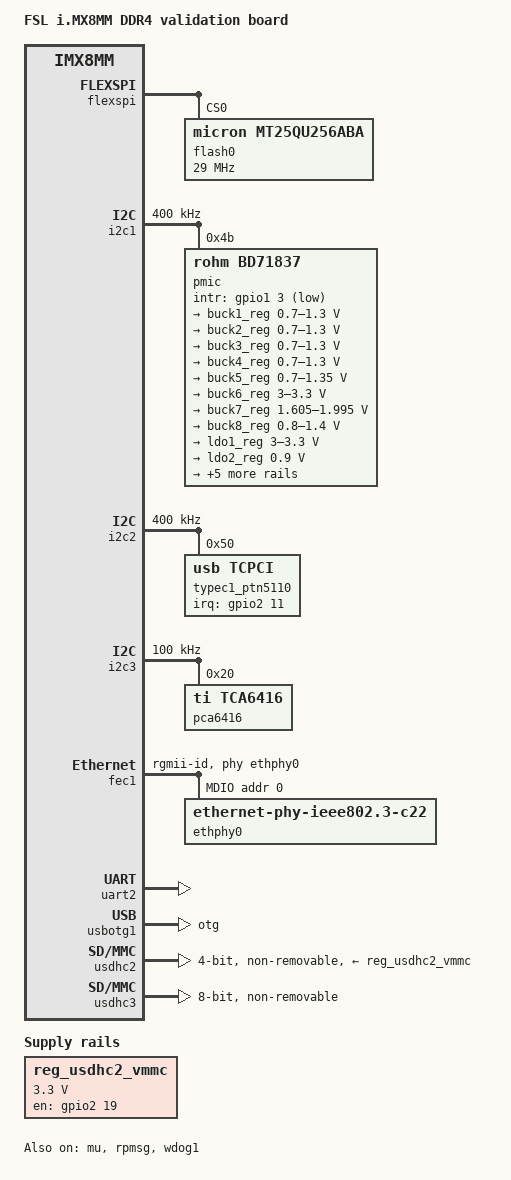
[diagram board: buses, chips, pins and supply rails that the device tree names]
/*
 * Copyright 2018 NXP
 *
 * This program is free software; you can redistribute it and/or
 * modify it under the terms of the GNU General Public License
 * as published by the Free Software Foundation; either version 2
 * of the License, or (at your option) any later version.
 *
 * This program is distributed in the hope that it will be useful,
 * but WITHOUT ANY WARRANTY; without even the implied warranty of
 * MERCHANTABILITY or FITNESS FOR A PARTICULAR PURPOSE.  See the
 * GNU General Public License for more details.
 */

/dts-v1/;

#include "fsl-imx8mm.dtsi"

/ {
	model = "FSL i.MX8MM DDR4 validation board";
	compatible = "fsl,imx8mm-val", "fsl,imx8mm";

	chosen {
		bootargs = "console=ttymxc1,115200 earlycon=ec_imx6q,0x30890000,115200";
		stdout-path = &uart2;
	};

	regulators {
		compatible = "simple-bus";
		#address-cells = <1>;
		#size-cells = <0>;

		reg_usdhc2_vmmc: regulator-usdhc2 {
			compatible = "regulator-fixed";
			regulator-name = "VSD_3V3";
			regulator-min-microvolt = <3300000>;
			regulator-max-microvolt = <3300000>;
			gpio = <&gpio2 19 GPIO_ACTIVE_HIGH>;
			enable-active-high;
		};
	};

	busfreq {
		status = "disabled";
	};
};

&iomuxc {
	pinctrl-names = "default";

	imx8mm-val {
		pinctrl_fec1: fec1grp {
			fsl,pins = <
				MX8MM_IOMUXC_ENET_MDC_ENET1_MDC		0x3
				MX8MM_IOMUXC_ENET_MDIO_ENET1_MDIO	0x3
				MX8MM_IOMUXC_ENET_TD3_ENET1_RGMII_TD3	0x1f
				MX8MM_IOMUXC_ENET_TD2_ENET1_RGMII_TD2	0x1f
				MX8MM_IOMUXC_ENET_TD1_ENET1_RGMII_TD1	0x1f
				MX8MM_IOMUXC_ENET_TD0_ENET1_RGMII_TD0	0x1f
				MX8MM_IOMUXC_ENET_RD3_ENET1_RGMII_RD3	0x91
				MX8MM_IOMUXC_ENET_RD2_ENET1_RGMII_RD2	0x91
				MX8MM_IOMUXC_ENET_RD1_ENET1_RGMII_RD1	0x91
				MX8MM_IOMUXC_ENET_RD0_ENET1_RGMII_RD0	0x91
				MX8MM_IOMUXC_ENET_TXC_ENET1_RGMII_TXC	0x1f
				MX8MM_IOMUXC_ENET_RXC_ENET1_RGMII_RXC	0x91
				MX8MM_IOMUXC_ENET_RX_CTL_ENET1_RGMII_RX_CTL	0x91
				MX8MM_IOMUXC_ENET_TX_CTL_ENET1_RGMII_TX_CTL	0x1f
				MX8MM_IOMUXC_SAI2_RXC_GPIO4_IO22	0x19
			>;
		};

		pinctrl_flexspi0: flexspi0grp {
			fsl,pins = <
				MX8MM_IOMUXC_NAND_ALE_QSPI_A_SCLK		0x1c2
				MX8MM_IOMUXC_NAND_CE0_B_QSPI_A_SS0_B		0x82
				MX8MM_IOMUXC_NAND_DATA00_QSPI_A_DATA0		0x82
				MX8MM_IOMUXC_NAND_DATA01_QSPI_A_DATA1		0x82
				MX8MM_IOMUXC_NAND_DATA02_QSPI_A_DATA2		0x82
				MX8MM_IOMUXC_NAND_DATA03_QSPI_A_DATA3		0x82
			>;
		};

		pinctrl_i2c1: i2c1grp {
			fsl,pins = <
				MX8MM_IOMUXC_I2C1_SCL_I2C1_SCL			0x400001c3
				MX8MM_IOMUXC_I2C1_SDA_I2C1_SDA			0x400001c3
			>;
		};

		pinctrl_i2c2: i2c2grp {
			fsl,pins = <
				MX8MM_IOMUXC_I2C2_SCL_I2C2_SCL			0x400001c3
				MX8MM_IOMUXC_I2C2_SDA_I2C2_SDA			0x400001c3
			>;
		};

		pinctrl_i2c3: i2c3grp {
			fsl,pins = <
				MX8MM_IOMUXC_I2C3_SCL_I2C3_SCL			0x400001c3
				MX8MM_IOMUXC_I2C3_SDA_I2C3_SDA			0x400001c3
			>;
		};

		pinctrl_pmic: pmicirq {
			fsl,pins = <
				MX8MM_IOMUXC_GPIO1_IO03_GPIO1_IO3		0x41
			>;
		};

		pinctrl_typec1: typec1grp {
			fsl,pins = <
				MX8MM_IOMUXC_SD1_STROBE_GPIO2_IO11	0x159
			>;
		};

		pinctrl_typec2: typec2grp {
			fsl,pins = <
				MX8MM_IOMUXC_SD2_CD_B_GPIO2_IO12	0x159
			>;
		};

		pinctrl_uart2: uart2grp {
			fsl,pins = <
				MX8MM_IOMUXC_UART2_RXD_UART2_DCE_RX	0x140
				MX8MM_IOMUXC_UART2_TXD_UART2_DCE_TX	0x140
			>;
		};

		pinctrl_usdhc2_gpio: usdhc2grpgpio {
			fsl,pins = <
				MX8MM_IOMUXC_SD2_RESET_B_GPIO2_IO19	0x41
			>;
		};

		pinctrl_usdhc2: usdhc2grp {
			fsl,pins = <
				MX8MM_IOMUXC_SD2_CLK_USDHC2_CLK		0x190
				MX8MM_IOMUXC_SD2_CMD_USDHC2_CMD		0x1d0
				MX8MM_IOMUXC_SD2_DATA0_USDHC2_DATA0	0x1d0
				MX8MM_IOMUXC_SD2_DATA1_USDHC2_DATA1	0x1d0
				MX8MM_IOMUXC_SD2_DATA2_USDHC2_DATA2	0x1d0
				MX8MM_IOMUXC_SD2_DATA3_USDHC2_DATA3	0x1d0
				MX8MM_IOMUXC_GPIO1_IO04_USDHC2_VSELECT	0x1d0
			>;
		};

		pinctrl_usdhc2_100mhz: usdhc2grp100mhz {
			fsl,pins = <
				MX8MM_IOMUXC_SD2_CLK_USDHC2_CLK		0x194
				MX8MM_IOMUXC_SD2_CMD_USDHC2_CMD		0x1d4
				MX8MM_IOMUXC_SD2_DATA0_USDHC2_DATA0	0x1d4
				MX8MM_IOMUXC_SD2_DATA1_USDHC2_DATA1	0x1d4
				MX8MM_IOMUXC_SD2_DATA2_USDHC2_DATA2	0x1d4
				MX8MM_IOMUXC_SD2_DATA3_USDHC2_DATA3	0x1d4
				MX8MM_IOMUXC_GPIO1_IO04_USDHC2_VSELECT	0x1d0
			>;
		};

		pinctrl_usdhc2_200mhz: usdhc2grp200mhz {
			fsl,pins = <
				MX8MM_IOMUXC_SD2_CLK_USDHC2_CLK		0x196
				MX8MM_IOMUXC_SD2_CMD_USDHC2_CMD		0x1d6
				MX8MM_IOMUXC_SD2_DATA0_USDHC2_DATA0	0x1d6
				MX8MM_IOMUXC_SD2_DATA1_USDHC2_DATA1	0x1d6
				MX8MM_IOMUXC_SD2_DATA2_USDHC2_DATA2	0x1d6
				MX8MM_IOMUXC_SD2_DATA3_USDHC2_DATA3	0x1d6
				MX8MM_IOMUXC_GPIO1_IO04_USDHC2_VSELECT	0x1d0
			>;
		};

		pinctrl_usdhc3: usdhc3grp {
			fsl,pins = <
				MX8MM_IOMUXC_NAND_WE_B_USDHC3_CLK		0x190
				MX8MM_IOMUXC_NAND_WP_B_USDHC3_CMD		0x1d0
				MX8MM_IOMUXC_NAND_DATA04_USDHC3_DATA0		0x1d0
				MX8MM_IOMUXC_NAND_DATA05_USDHC3_DATA1		0x1d0
				MX8MM_IOMUXC_NAND_DATA06_USDHC3_DATA2		0x1d0
				MX8MM_IOMUXC_NAND_DATA07_USDHC3_DATA3		0x1d0
				MX8MM_IOMUXC_NAND_RE_B_USDHC3_DATA4		0x1d0
				MX8MM_IOMUXC_NAND_CE2_B_USDHC3_DATA5		0x1d0
				MX8MM_IOMUXC_NAND_CE3_B_USDHC3_DATA6		0x1d0
				MX8MM_IOMUXC_NAND_CLE_USDHC3_DATA7		0x1d0
				MX8MM_IOMUXC_NAND_CE1_B_USDHC3_STROBE 		0x190
			>;
		};

		pinctrl_usdhc3_100mhz: usdhc3grp100mhz {
			fsl,pins = <
				MX8MM_IOMUXC_NAND_WE_B_USDHC3_CLK		0x194
				MX8MM_IOMUXC_NAND_WP_B_USDHC3_CMD		0x1d4
				MX8MM_IOMUXC_NAND_DATA04_USDHC3_DATA0		0x1d4
				MX8MM_IOMUXC_NAND_DATA05_USDHC3_DATA1		0x1d4
				MX8MM_IOMUXC_NAND_DATA06_USDHC3_DATA2		0x1d4
				MX8MM_IOMUXC_NAND_DATA07_USDHC3_DATA3		0x1d4
				MX8MM_IOMUXC_NAND_RE_B_USDHC3_DATA4		0x1d4
				MX8MM_IOMUXC_NAND_CE2_B_USDHC3_DATA5		0x1d4
				MX8MM_IOMUXC_NAND_CE3_B_USDHC3_DATA6		0x1d4
				MX8MM_IOMUXC_NAND_CLE_USDHC3_DATA7		0x1d4
				MX8MM_IOMUXC_NAND_CE1_B_USDHC3_STROBE 		0x194
			>;
		};

		pinctrl_usdhc3_200mhz: usdhc3grp200mhz {
			fsl,pins = <
				MX8MM_IOMUXC_NAND_WE_B_USDHC3_CLK		0x196
				MX8MM_IOMUXC_NAND_WP_B_USDHC3_CMD		0x1d6
				MX8MM_IOMUXC_NAND_DATA04_USDHC3_DATA0		0x1d6
				MX8MM_IOMUXC_NAND_DATA05_USDHC3_DATA1		0x1d6
				MX8MM_IOMUXC_NAND_DATA06_USDHC3_DATA2		0x1d6
				MX8MM_IOMUXC_NAND_DATA07_USDHC3_DATA3		0x1d6
				MX8MM_IOMUXC_NAND_RE_B_USDHC3_DATA4		0x1d6
				MX8MM_IOMUXC_NAND_CE2_B_USDHC3_DATA5		0x1d6
				MX8MM_IOMUXC_NAND_CE3_B_USDHC3_DATA6		0x1d6
				MX8MM_IOMUXC_NAND_CLE_USDHC3_DATA7		0x1d6
				MX8MM_IOMUXC_NAND_CE1_B_USDHC3_STROBE 		0x196
			>;
		};

		pinctrl_wdog: wdoggrp {
			fsl,pins = <
				MX8MM_IOMUXC_GPIO1_IO02_WDOG1_WDOG_B		0xc6
			>;
		};
	};
};

&flexspi {
	pinctrl-names = "default";
	pinctrl-0 = <&pinctrl_flexspi0>;
	status = "okay";

	flash0: mt25qu256aba@0 {
		reg = <0>;
		#address-cells = <1>;
		#size-cells = <1>;
		compatible = "micron,mt25qu256aba";
		spi-max-frequency = <29000000>;
		spi-nor,ddr-quad-read-dummy = <8>;
	};
};

&i2c1 {
	clock-frequency = <400000>;
	pinctrl-names = "default";
	pinctrl-0 = <&pinctrl_i2c1>;
	status = "okay";

	pmic: bd71837@4b {
		reg = <0x4b>;
		compatible = "rohm,bd71837";
		/* PMIC BD71837 PMIC_nINT GPIO1_IO3 */
		pinctrl-0 = <&pinctrl_pmic>;
		gpio_intr = <&gpio1 3 GPIO_ACTIVE_LOW>;

		gpo {
			rohm,drv = <0x0C>;	/* 0b0000_1100 all gpos with cmos output mode */
		};

		regulators {
			#address-cells = <1>;
			#size-cells = <0>;

			bd71837,pmic-buck2-uses-i2c-dvs;
			bd71837,pmic-buck2-dvs-voltage = <1000000>, <900000>, <0>; /* VDD_ARM: Run-Idle */

			buck1_reg: regulator@0 {
				reg = <0>;
				regulator-compatible = "buck1";
				regulator-min-microvolt = <700000>;
				regulator-max-microvolt = <1300000>;
				regulator-boot-on;
				regulator-always-on;
				regulator-ramp-delay = <1250>;
			};

			buck2_reg: regulator@1 {
				reg = <1>;
				regulator-compatible = "buck2";
				regulator-min-microvolt = <700000>;
				regulator-max-microvolt = <1300000>;
				regulator-boot-on;
				regulator-always-on;
				regulator-ramp-delay = <1250>;
			};

			buck3_reg: regulator@2 {
				reg = <2>;
				regulator-compatible = "buck3";
				regulator-min-microvolt = <700000>;
				regulator-max-microvolt = <1300000>;
			};

			buck4_reg: regulator@3 {
				reg = <3>;
				regulator-compatible = "buck4";
				regulator-min-microvolt = <700000>;
				regulator-max-microvolt = <1300000>;
			};

			buck5_reg: regulator@4 {
				reg = <4>;
				regulator-compatible = "buck5";
				regulator-min-microvolt = <700000>;
				regulator-max-microvolt = <1350000>;
				regulator-boot-on;
				regulator-always-on;
			};

			buck6_reg: regulator@5 {
				reg = <5>;
				regulator-compatible = "buck6";
				regulator-min-microvolt = <3000000>;
				regulator-max-microvolt = <3300000>;
				regulator-boot-on;
				regulator-always-on;
			};

			buck7_reg: regulator@6 {
				reg = <6>;
				regulator-compatible = "buck7";
				regulator-min-microvolt = <1605000>;
				regulator-max-microvolt = <1995000>;
				regulator-boot-on;
				regulator-always-on;
			};

			buck8_reg: regulator@7 {
				reg = <7>;
				regulator-compatible = "buck8";
				regulator-min-microvolt = <800000>;
				regulator-max-microvolt = <1400000>;
				regulator-boot-on;
				regulator-always-on;
			};

			ldo1_reg: regulator@8 {
				reg = <8>;
				regulator-compatible = "ldo1";
				regulator-min-microvolt = <3000000>;
				regulator-max-microvolt = <3300000>;
				regulator-boot-on;
				regulator-always-on;
			};

			ldo2_reg: regulator@9 {
				reg = <9>;
				regulator-compatible = "ldo2";
				regulator-min-microvolt = <900000>;
				regulator-max-microvolt = <900000>;
				regulator-boot-on;
				regulator-always-on;
			};

			ldo3_reg: regulator@10 {
				reg = <10>;
				regulator-compatible = "ldo3";
				regulator-min-microvolt = <1800000>;
				regulator-max-microvolt = <3300000>;
				regulator-boot-on;
				regulator-always-on;
			};

			ldo4_reg: regulator@11 {
				reg = <11>;
				regulator-compatible = "ldo4";
				regulator-min-microvolt = <900000>;
				regulator-max-microvolt = <1800000>;
				regulator-boot-on;
				regulator-always-on;
			};

			ldo5_reg: regulator@12 {
				reg = <12>;
				regulator-compatible = "ldo5";
				regulator-min-microvolt = <1800000>;
				regulator-max-microvolt = <3300000>;
			};

			ldo6_reg: regulator@13 {
				reg = <13>;
				regulator-compatible = "ldo6";
				regulator-min-microvolt = <900000>;
				regulator-max-microvolt = <1800000>;
				regulator-boot-on;
				regulator-always-on;
			};

			ldo7_reg: regulator@14 {
				reg = <14>;
				regulator-compatible = "ldo7";
				regulator-min-microvolt = <1800000>;
				regulator-max-microvolt = <3300000>;
			};
		};
	};
};

&i2c2 {
	clock-frequency = <400000>;
	pinctrl-names = "default";
	pinctrl-0 = <&pinctrl_i2c2>;
	status = "okay";

	typec1_ptn5110: tcpci@50 {
		compatible = "usb,tcpci";
		pinctrl-names = "default";
		pinctrl-0 = <&pinctrl_typec1>;
		reg = <0x50>;
		interrupt-parent = <&gpio2>;
		interrupts = <11 8>;
		src-pdos = <0x380190c8>;
		snk-pdos = <0x380190c8>;
		/* Only can sink 5V for safe */
		max-snk-mv = <5000>;
		max-snk-ma = <3000>;
		op-snk-mw = <10000>;
		max-snk-mw = <15000>;
		port-type = "drp";
		default-role = "sink";
		status = "okay";
	};

	typec2_ptn5110: tcpci@52 {
		compatible = "usb,tcpci";
		pinctrl-names = "default";
		pinctrl-0 = <&pinctrl_typec2>;
		reg = <0x52>;
		interrupt-parent = <&gpio2>;
		interrupts = <12 8>;
		src-pdos = <0x380190c8>;
		snk-pdos = <0x380190c8>;
		/* Only can sink 5V for safe */
		max-snk-mv = <5000>;
		max-snk-ma = <3000>;
		op-snk-mw = <10000>;
		max-snk-mw = <15000>;
		port-type = "drp";
		default-role = "sink";
		status = "disabled";
	};
};

&i2c3 {
	clock-frequency = <100000>;
	pinctrl-names = "default";
	pinctrl-0 = <&pinctrl_i2c3>;
	status = "okay";

	pca6416: gpio@20 {
		compatible = "ti,tca6416";
		reg = <0x20>;
		gpio-controller;
		#gpio-cells = <2>;
	};
};

&mu {
	status = "okay";
};

&rpmsg{
	/*
	 * 64K for one rpmsg instance:
	 * --0xb8000000~0xb800ffff: pingpong
	 */
	vdev-nums = <1>;
	reg = <0x0 0xb8000000 0x0 0x10000>;
	status = "okay";
};

&fec1 {
	pinctrl-names = "default";
	pinctrl-0 = <&pinctrl_fec1>;
	phy-mode = "rgmii-id";
	phy-handle = <&ethphy0>;
	fsl,magic-packet;
	status = "okay";

	mdio {
		#address-cells = <1>;
		#size-cells = <0>;

		ethphy0: ethernet-phy@0 {
			compatible = "ethernet-phy-ieee802.3-c22";
			reg = <0>;
			at803x,led-act-blind-workaround;
			at803x,eee-okay;
			at803x,vddio-1p8v;
		};
	};
};

&uart2 { /* console */
	pinctrl-names = "default";
	pinctrl-0 = <&pinctrl_uart2>;
	status = "okay";
};

&usbotg1 {
	dr_mode = "otg";
	extcon = <0>, <&typec1_ptn5110>;
	status = "okay";
};

&usbotg2 {
	dr_mode = "otg";
	extcon = <0>, <&typec2_ptn5110>;
	status = "disabled";
};

&usdhc2 {
	pinctrl-names = "default", "state_100mhz", "state_200mhz";
	pinctrl-0 = <&pinctrl_usdhc2>, <&pinctrl_usdhc2_gpio>;
	pinctrl-1 = <&pinctrl_usdhc2_100mhz>, <&pinctrl_usdhc2_gpio>;
	pinctrl-2 = <&pinctrl_usdhc2_200mhz>, <&pinctrl_usdhc2_gpio>;
	bus-width = <4>;
	non-removable;
	vmmc-supply = <&reg_usdhc2_vmmc>;
	status = "okay";
};

&usdhc3 {
	pinctrl-names = "default", "state_100mhz", "state_200mhz";
	pinctrl-0 = <&pinctrl_usdhc3>;
	pinctrl-1 = <&pinctrl_usdhc3_100mhz>;
	pinctrl-2 = <&pinctrl_usdhc3_200mhz>;
	bus-width = <8>;
	non-removable;
	status = "okay";
};

&wdog1 {
	pinctrl-names = "default";
	pinctrl-0 = <&pinctrl_wdog>;
	fsl,ext-reset-output;
	status = "okay";
};

&A53_0 {
	arm-supply = <&buck2_reg>;
};
